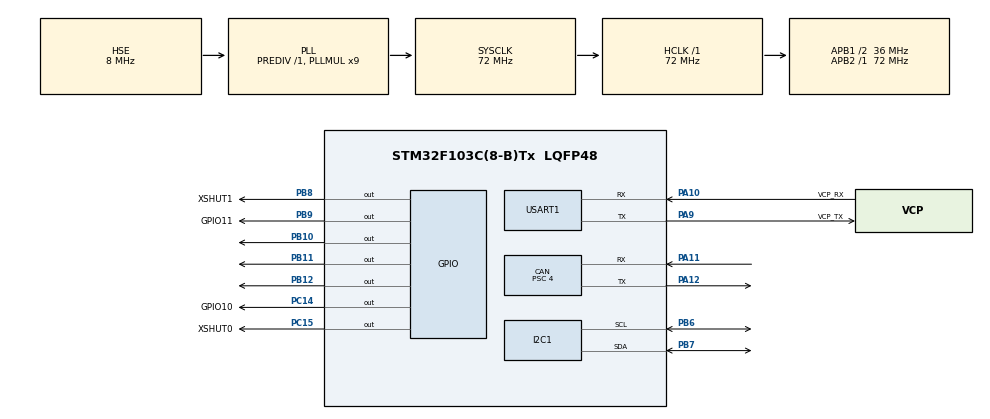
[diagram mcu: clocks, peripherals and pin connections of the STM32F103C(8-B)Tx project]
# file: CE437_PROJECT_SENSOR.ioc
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CAN.BS1=CAN_BS1_13TQ
CAN.BS2=CAN_BS2_4TQ
CAN.CalculateBaudRate=500000
CAN.CalculateTimeBit=2000
CAN.CalculateTimeQuantum=111.11111111111111
CAN.Prescaler=4
CAN.SJW=CAN_SJW_2TQ
I2C1.I2C_Mode=I2C_Fast
Mcu.Family=STM32F1
Mcu.Name=STM32F103C(8-B)Tx
Mcu.Package=LQFP48
NVIC.PriorityGroup=NVIC_PRIORITYGROUP_4
NVIC.TIM3_IRQn=true\:0\:0\:false\:false\:true\:true\:true\:true
NVIC.USB_LP_CAN1_RX0_IRQn=true\:0\:0\:false\:false\:true\:true\:true\:true
PA10.GPIO_Label=VCP_RX
PA10.Mode=Asynchronous
PA10.Signal=USART1_RX
PA11.Mode=CAN_Activate
PA11.Signal=CAN_RX
PA12.Mode=CAN_Activate
PA12.Signal=CAN_TX
PA13.Mode=Serial_Wire
PA13.Signal=SYS_JTMS-SWDIO
PA14.Mode=Serial_Wire
PA14.Signal=SYS_JTCK-SWCLK
PA9.GPIO_Label=VCP_TX
PA9.Mode=Asynchronous
PA9.Signal=USART1_TX
PB10.PinState=GPIO_PIN_SET
PB10.Signal=GPIO_Output
PB11.PinState=GPIO_PIN_SET
PB11.Signal=GPIO_Output
PB12.PinState=GPIO_PIN_SET
PB12.Signal=GPIO_Output
PB6.GPIO_Speed=GPIO_SPEED_FREQ_LOW
PB6.Mode=I2C
PB6.Signal=I2C1_SCL
PB7.GPIO_Speed=GPIO_SPEED_FREQ_LOW
PB7.Mode=I2C
PB7.Signal=I2C1_SDA
PB8.GPIO_Label=XSHUT1
PB8.PinState=GPIO_PIN_SET
PB8.Signal=GPIO_Output
PB9.GPIO_Label=GPIO11
PB9.PinState=GPIO_PIN_SET
PB9.Signal=GPIO_Output
PC14-OSC32_IN.GPIO_Label=GPIO10
PC14-OSC32_IN.PinState=GPIO_PIN_SET
PC14-OSC32_IN.Signal=GPIO_Output
PC15-OSC32_OUT.GPIO_Label=XSHUT0
PC15-OSC32_OUT.PinState=GPIO_PIN_SET
PC15-OSC32_OUT.Signal=GPIO_Output
PD0-OSC_IN.Mode=HSE-External-Oscillator
PD0-OSC_IN.Signal=RCC_OSC_IN
PD1-OSC_OUT.Mode=HSE-External-Oscillator
PD1-OSC_OUT.Signal=RCC_OSC_OUT
ProjectManager.HeapSize=0x200
ProjectManager.StackSize=0x400
ProjectManager.TargetToolchain=STM32CubeIDE
RCC.AHBFreq_Value=72000000
RCC.APB1CLKDivider=RCC_HCLK_DIV2
RCC.APB1Freq_Value=36000000
RCC.APB1TimFreq_Value=72000000
RCC.APB2Freq_Value=72000000
RCC.APB2TimFreq_Value=72000000
RCC.HCLKFreq_Value=72000000
RCC.PLLMUL=RCC_PLL_MUL9
RCC.PLLSourceVirtual=RCC_PLLSOURCE_HSE
RCC.SYSCLKFreq_VALUE=72000000
RCC.SYSCLKSource=RCC_SYSCLKSOURCE_PLLCLK
RCC.USBFreq_Value=72000000
TIM3.Period=999
TIM3.Prescaler=7199
USART1.VirtualMode=VM_ASYNC
VP_TIM3_VS_ClockSourceINT.Mode=Internal
board=custom

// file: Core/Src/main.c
/* USER CODE BEGIN Header */
/**
  ******************************************************************************
  * @file           : main.c
  * @brief          : Main program body
  ******************************************************************************
  * @attention
  *
  * Copyright (c) 2024 STMicroelectronics.
  * All rights reserved.
  *
  * This software is licensed under terms that can be found in the LICENSE file
  * in the root directory of this software component.
  * If no LICENSE file comes with this software, it is provided AS-IS.
  *
  ******************************************************************************
  */
/* USER CODE END Header */
#include "main.h"
#include "can.h"
#include "i2c.h"
#include "tim.h"
#include "usart.h"
#include "gpio.h"

/* USER CODE BEGIN Includes */
#include "stdio.h"
#include "SIGNAL.h"
#include "VL53L1_Handler.h"
#include "CAN_Handler.h"
/* USER CODE END Includes */

/* USER CODE BEGIN PD */
VL53L1X sensorVL53L1XLeft, sensorVL53L1XRight;
char buffer[100];
#define ADDRESS_I2C_SENSOR_LEFT 0x22
#define ADDRESS_I2C_SENSOR_RIGHT 0x26
/* USER CODE END PD */

void SystemClock_Config(void);

/* USER CODE BEGIN 0 */
uint8_t state = 0, prevState = 0, forceChange = 0;
void HAL_CAN_RxFifo0MsgPendingCallback(CAN_HandleTypeDef* hcan)
{
	HAL_CAN_GetRxMessage(hcan, CAN_RX_FIFO0, &RxHeader, RxData);
	returnSignal = RxData[0];
}
/* USER CODE END 0 */

int main(void)
{

  /* MCU Configuration--------------------------------------------------------*/

  /* Reset of all peripherals, Initializes the Flash interface and the Systick. */
  HAL_Init();

  /* Configure the system clock */
  SystemClock_Config();

  /* Initialize all configured peripherals */
  MX_GPIO_Init();
  MX_I2C1_Init();
  MX_USART1_UART_Init();
  MX_CAN_Init();
  MX_TIM3_Init();
  /* USER CODE BEGIN 2 */
	TOF_InitStruct(&sensorVL53L1XLeft, &hi2c1, ADDRESS_I2C_SENSOR_LEFT, XSHUT0_GPIO_Port, XSHUT0_Pin);
	TOF_InitStruct(&sensorVL53L1XRight, &hi2c1, ADDRESS_I2C_SENSOR_RIGHT, XSHUT1_GPIO_Port, XSHUT1_Pin);
	int status = VL53L1_BootDualSensors(&sensorVL53L1XLeft, &sensorVL53L1XRight);
	if (VL53L1_BootDualSensors(&sensorVL53L1XLeft, &sensorVL53L1XRight) != 0) {
		VL53L1_Error_Hanlder(status);
	}
	CAN_FilterInit_SingleFF0(&hcan, &canfilterconfig, ACTUATOR_ADDR);
	CAN_ComInit_Std(&TxHeader, &hcan, SENSOR_ADDR, 2);

  /* USER CODE END 2 */

  /* Infinite loop */
  /* USER CODE BEGIN WHILE */
	while (1) {
		if (forceChange != 0) {
			if (forceChange == BACKWARD_RIGHT_STATE) {
				state = LEFT_STATE;
			} else {
				state = RIGHT_STATE;
			}
			forceChange = 0;
		} else {
			VL53L1_GetDistance(&sensorVL53L1XLeft);
			VL53L1_GetDistance(&sensorVL53L1XRight);
			if (sensorVL53L1XRight.distance >= 55) {
				sensorVL53L1XRight.distance += 50;
			}

			state = Get_State(sensorVL53L1XLeft.distance, sensorVL53L1XRight.distance, 0, prevState);
		}

		switch (state) {
		case LEFT_STATE:
			forceChange = 0;
			prevState = state;

			HAL_Delay(50);
			while (returnSignal != LEFT_STATE) {
				CAN_Transmit(&hcan, &TxHeader, LEFT);
			}
			break;
		case RIGHT_STATE:
			forceChange = 0;
			prevState = state;
			CAN_Transmit(&hcan, &TxHeader, RIGHT);
			HAL_Delay(50);
			while (returnSignal != RIGHT_STATE) {
				CAN_Transmit(&hcan, &TxHeader, RIGHT);
			}
			break;
		case FORWARD_STATE:
			forceChange = 0;
			//prevState = state;
			CAN_Transmit(&hcan, &TxHeader, FORWARD);
			//while (returnSignal != FORWARD_STATE) {}
			break;
		case BACKWARD_LEFT_STATE:
			CAN_Transmit(&hcan, &TxHeader, BACKWARD_LEFT);
			while (state == BACKWARD_LEFT_STATE) {
				VL53L1_GetDistance(&sensorVL53L1XLeft);
				VL53L1_GetDistance(&sensorVL53L1XRight);
				if (sensorVL53L1XRight.distance >= 55) {
					sensorVL53L1XRight.distance += 50;
				}
				state = Get_State(sensorVL53L1XLeft.distance, sensorVL53L1XRight.distance, 0, prevState);
			}
			forceChange = BACKWARD_LEFT_STATE;
			break;
		case BACKWARD_RIGHT_STATE:
			CAN_Transmit(&hcan, &TxHeader, BACKWARD_RIGHT);
			while (state == BACKWARD_RIGHT_STATE) {
				VL53L1_GetDistance(&sensorVL53L1XLeft);
				VL53L1_GetDistance(&sensorVL53L1XRight);
				if (sensorVL53L1XRight.distance >= 55) {
					sensorVL53L1XRight.distance += 50;
				}
				state = Get_State(sensorVL53L1XLeft.distance, sensorVL53L1XRight.distance, 0, prevState);
			}
			forceChange = BACKWARD_RIGHT_STATE;
			break;
		case TEST_SENSORS:
			sprintf(buffer, "\n\rSensor Left\n\r  D1: %dmm\n\n\rSensor Right\n\r  D2: %dmm", sensorVL53L1XLeft.distance, sensorVL53L1XRight.distance);
			Print(buffer, 200);
			break;
		}
		//HAL_Delay(100);

    /* USER CODE END WHILE */

	}
}

void SystemClock_Config(void)
{
  RCC_OscInitTypeDef RCC_OscInitStruct = {0};
  RCC_ClkInitTypeDef RCC_ClkInitStruct = {0};

  /** Initializes the RCC Oscillators according to the specified parameters
  * in the RCC_OscInitTypeDef structure.
  */
  RCC_OscInitStruct.OscillatorType = RCC_OSCILLATORTYPE_HSE;
  RCC_OscInitStruct.HSEState = RCC_HSE_ON;
  RCC_OscInitStruct.HSEPredivValue = RCC_HSE_PREDIV_DIV1;
  RCC_OscInitStruct.HSIState = RCC_HSI_ON;
  RCC_OscInitStruct.PLL.PLLState = RCC_PLL_ON;
  RCC_OscInitStruct.PLL.PLLSource = RCC_PLLSOURCE_HSE;
  RCC_OscInitStruct.PLL.PLLMUL = RCC_PLL_MUL9;
  if (HAL_RCC_OscConfig(&RCC_OscInitStruct) != HAL_OK)
  {
    Error_Handler();
  }

  /** Initializes the CPU, AHB and APB buses clocks
  */
  RCC_ClkInitStruct.ClockType = RCC_CLOCKTYPE_HCLK|RCC_CLOCKTYPE_SYSCLK
                              |RCC_CLOCKTYPE_PCLK1|RCC_CLOCKTYPE_PCLK2;
  RCC_ClkInitStruct.SYSCLKSource = RCC_SYSCLKSOURCE_PLLCLK;
  RCC_ClkInitStruct.AHBCLKDivider = RCC_SYSCLK_DIV1;
  RCC_ClkInitStruct.APB1CLKDivider = RCC_HCLK_DIV2;
  RCC_ClkInitStruct.APB2CLKDivider = RCC_HCLK_DIV1;

  if (HAL_RCC_ClockConfig(&RCC_ClkInitStruct, FLASH_LATENCY_2) != HAL_OK)
  {
    Error_Handler();
  }
}

void Error_Handler(void)
{
  __disable_irq();
  while (1)
  {
  }
}
